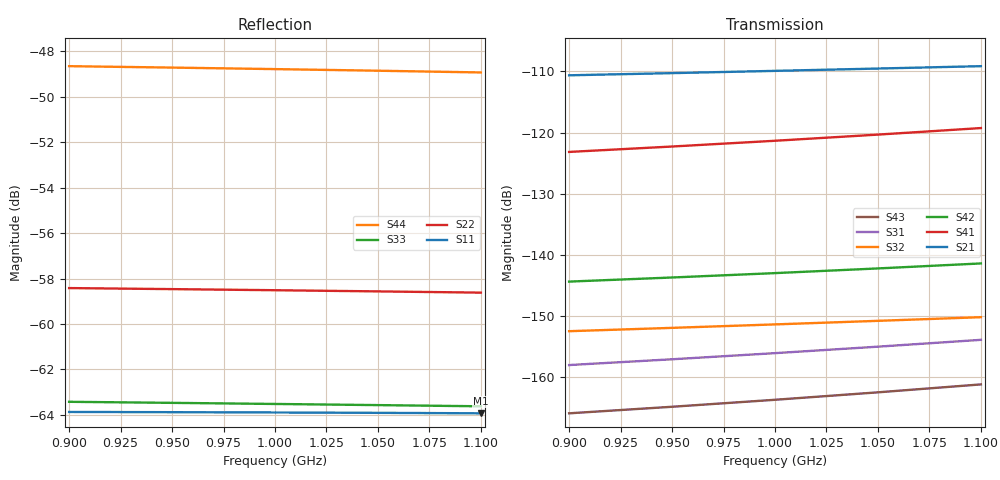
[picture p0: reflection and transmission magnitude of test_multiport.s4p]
! Touchstone file exported from HFSS 2020.2.0
!  Generated:  11:13:08  avr. 27, 2020
!  Design:  test
!  Project:  test_multiport
!  Setup:  Setup1
!  Solution:  Sweep
!Data is not renormalized
# GHZ S MA
! Terminal data exported
! Port[1] = 1
! Port[2] = 2
! Port[3] = 3
! Port[4] = 4
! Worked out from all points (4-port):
!   5 points, 900 MHz to 1.1 GHz, reference per port
!   strongest paths, dB at 900 MHz, 950 MHz, 1 GHz, 1.05 GHz, 1.1 GHz:
!     S21: -110.6, -110.3, -109.9, -109.5, -109.1
!     S41: -123.2, -122.3, -121.3, -120.3, -119.3
!     S42: -144.3, -143.7, -143.0, -142.2, -141.4
!     S32: -152.4, -151.9, -151.3, -150.8, -150.2
!     S31: -158.0, -157.0, -156.0, -155.0, -153.9
!     S43: -165.9, -164.8, -163.7, -162.4, -161.1
!   lowest |S11| = -63.9 dB at 1.1 GHz (marker M1), VSWR 1.00
!   |S11| at or under -10 dB: start of sweep to end of sweep
0.9  0.0006406 180.0  2.941e-06 0.0  1.262e-08 -0.0  6.956e-07 -0.0
     2.941e-06 0.0  0.001199 180.0  2.387e-08 -180.0  6.067e-08 -180.0
     1.262e-08 -0.0  2.387e-08 180.0  0.0006743 -180.0  5.092e-09 -0.0
     6.956e-07 0.0  6.067e-08 180.0  5.092e-09 -0.0  0.003689 -180.0
0.95  0.0006398 180.0  3.063e-06 0.0  1.407e-08 -0.0  7.7e-07 -0.0
      3.063e-06 0.0  0.001193 180.0  2.541e-08 -180.0  6.554e-08 -180.0
      1.407e-08 -0.0  2.541e-08 -180.0  0.0006707 180.0  5.759e-09 -0.0
      7.7e-07 -0.0  6.554e-08 -180.0  5.759e-09 -0.0  0.003663 180.0
1  0.0006388 -180.0  3.196e-06 -0.0  1.579e-08 -0.0  8.583e-07 -0.0
   3.196e-06 -0.0  0.001186 -180.0  2.712e-08 -180.0  7.117e-08 180.0
   1.579e-08 -0.0  2.712e-08 -180.0  0.000667 -180.0  6.568e-09 0.0
   8.583e-07 -0.0  7.117e-08 -180.0  6.568e-09 0.0  0.003635 180.0
1.05  0.0006376 -180.0  3.339e-06 -0.0  1.784e-08 -0.0  9.635e-07 -0.0
      3.339e-06 -0.0  0.001179 -180.0  2.9e-08 180.0  7.772e-08 180.0
      1.784e-08 -0.0  2.9e-08 180.0  0.0006631 -180.0  7.556e-09 0.0
      9.635e-07 -0.0  7.772e-08 180.0  7.556e-09 0.0  0.003605 180.0
1.1  0.0006361 180.0  3.491e-06 -0.0  2.029e-08 0.0  1.09e-06 0.0
     3.491e-06 -0.0  0.001172 180.0  3.107e-08 -180.0  8.538e-08 -180.0
     2.029e-08 0.0  3.107e-08 -180.0  0.0006591 180.0  8.771e-09 0.0
     1.09e-06 0.0  8.538e-08 -180.0  8.771e-09 0.0  0.003574 180.0
